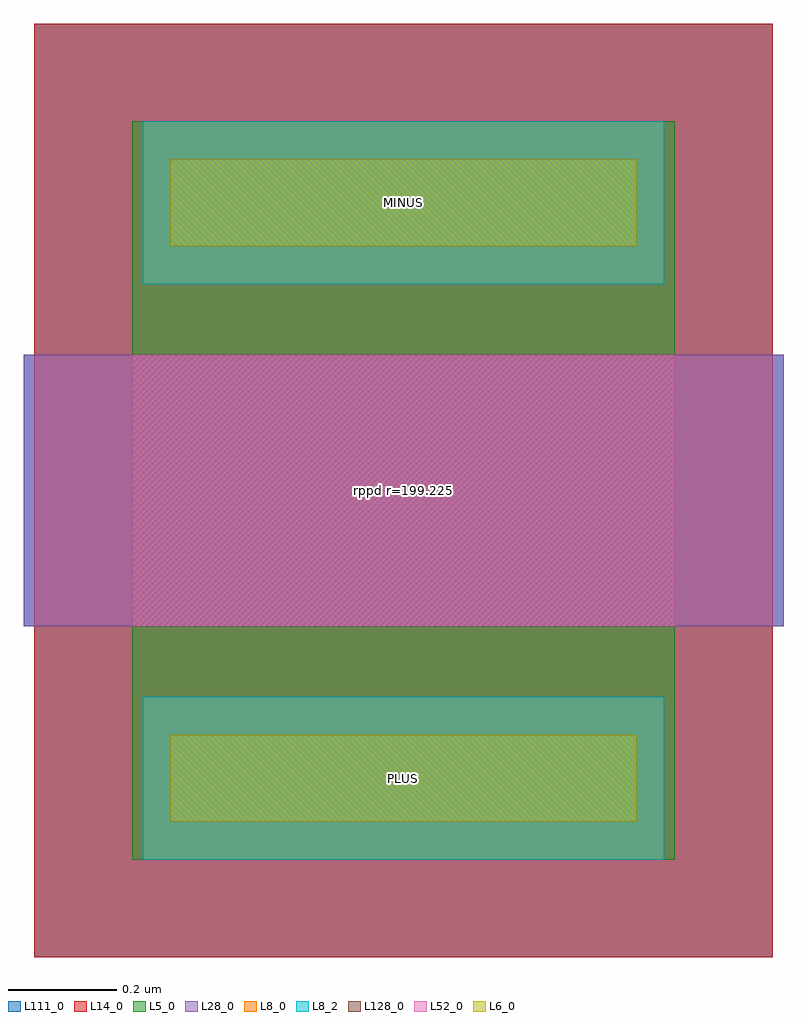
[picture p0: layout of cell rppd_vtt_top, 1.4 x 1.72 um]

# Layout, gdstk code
import gdstk
lib = gdstk.Library(unit=1e-6, precision=1e-09)
def R(c, l, rs):  # rectangles x0, y0, x1, y1
    for r in rs: c.add(gdstk.rectangle(r[:2], r[2:], *l))
L5_0 = (5, 0)
L6_0 = (6, 0)
L8_0 = (8, 0)
L8_2 = (8, 2)
L14_0 = (14, 0)
L28_0 = (28, 0)
L52_0 = (52, 0)
L111_0 = (111, 0)
L128_0 = (128, 0)

rppd_vtt_top = lib.new_cell('rppd_vtt_top')
R(rppd_vtt_top, L5_0, [(0,-0.43,1,-0.2), (0,-0.2,1,0), (0,0.5,1,0.7), (0,0.7,1,0.93)])
R(rppd_vtt_top, L6_0, [(0.07,-0.36,0.93,-0.2), (0.07,0.7,0.93,0.86)])
R(rppd_vtt_top, L8_0, [(0.02,-0.43,0.98,-0.13), (0.02,0.63,0.98,0.93)])
R(rppd_vtt_top, L8_2, [(0.02,-0.43,0.98,-0.13), (0.02,0.63,0.98,0.93)])
R(rppd_vtt_top, L14_0, [(-0.18,-0.61,1.18,0), (-0.18,0,1.18,0.5), (-0.18,0.5,1.18,1.11)])
R(rppd_vtt_top, L28_0, [(-0.2,0,1.2,0.5)])
R(rppd_vtt_top, L52_0, [(0,0,1,0.5)])
R(rppd_vtt_top, L111_0, [(-0.18,-0.61,1.18,0), (-0.2,0,1.2,0.5), (-0.18,0.5,1.18,1.11)])
R(rppd_vtt_top, L128_0, [(0,0,1,0.5)])
rppd_vtt_top.add(gdstk.Label('rppd r=199.225', (0.5,0.25), layer=63, texttype=0))
rppd_vtt_top.add(gdstk.Label('rppd', (0.5,0.25), layer=52, texttype=0))
rppd_vtt_top.add(gdstk.Label('PLUS', (0.5,-0.28), layer=8, texttype=25))
rppd_vtt_top.add(gdstk.Label('MINUS', (0.5,0.78), layer=8, texttype=25))

lib.write_gds('rppd_vtt_top.gds')
